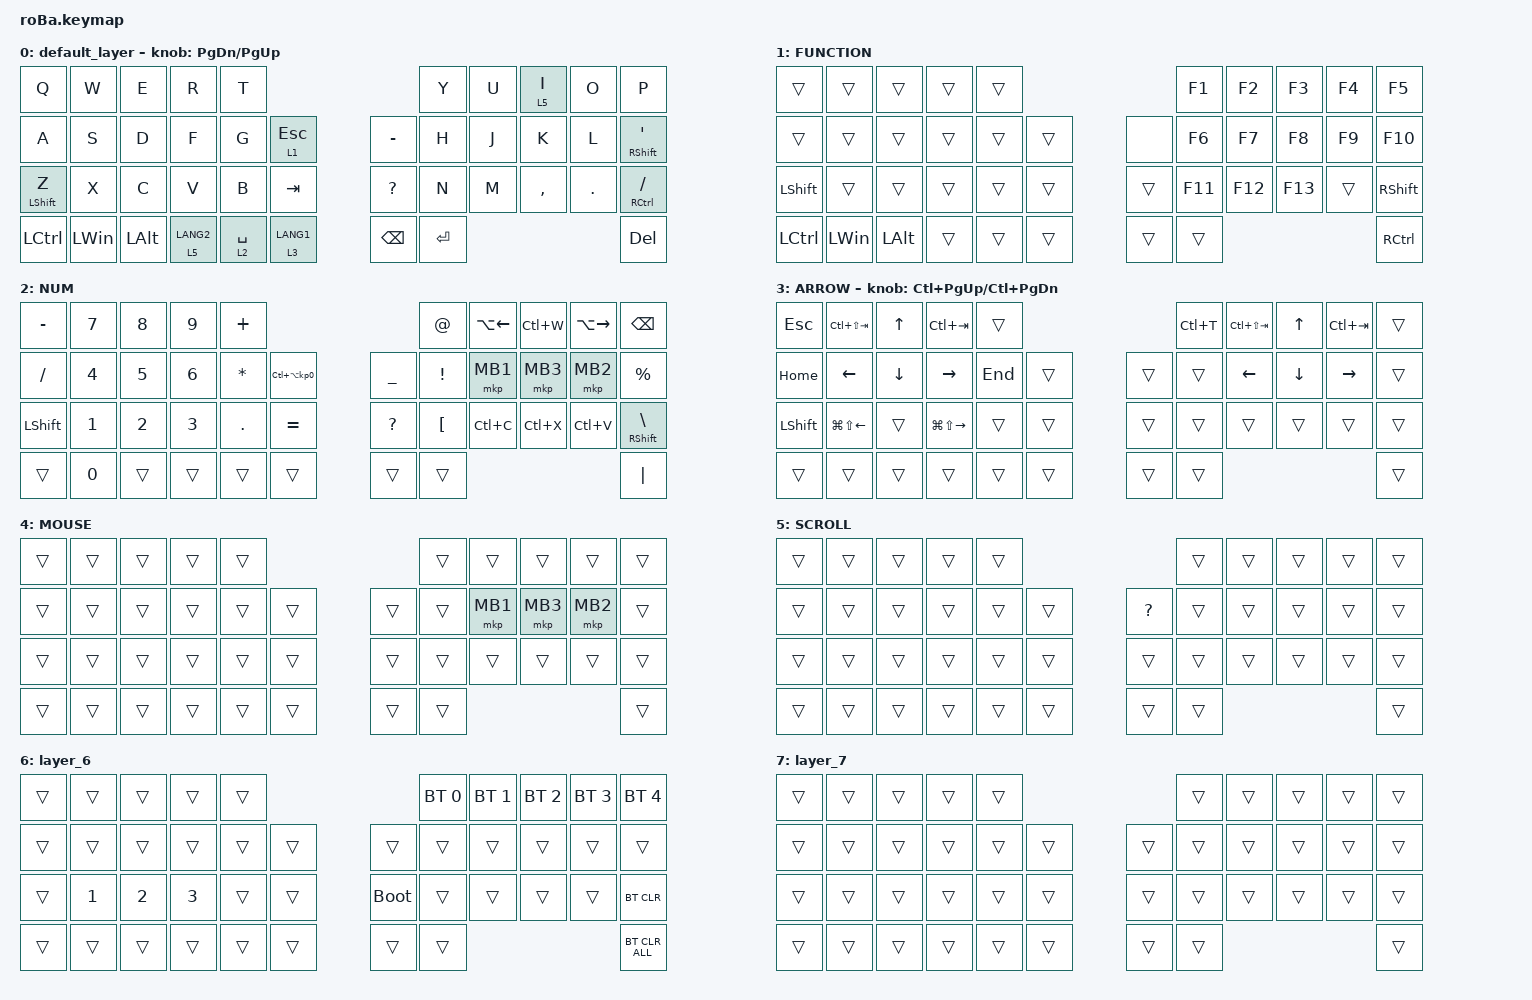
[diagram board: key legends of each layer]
#include <behaviors.dtsi>
#include <dt-bindings/zmk/bt.h>
#include <dt-bindings/zmk/keys.h>
#include <dt-bindings/zmk/pointing.h>

&mt {
    flavor = "balanced";
    quick-tap-ms = <0>;
};

/ {
    combos {
        compatible = "zmk,combos";

        tab {
            bindings = <&kp TAB>;
            key-positions = <11 12>;
        };

        shift_tab {
            bindings = <&kp LS(TAB)>;
            key-positions = <12 13>;
        };

        muhennkann {
            bindings = <&to_layer_0 INT_MUHENKAN>;
            key-positions = <11 10>;
        };

        double_quotation {
            bindings = <&kp DOUBLE_QUOTES>;
            key-positions = <20 21>;
        };

        eq {
            bindings = <&kp EQUAL>;
            key-positions = <24 25>;
        };
    };

    macros {
        to_layer_0: to_layer_0 {
            compatible = "zmk,behavior-macro-one-param";
            #binding-cells = <1>;
            bindings = <&to 0 &macro_param_1to1 &kp MACRO_PLACEHOLDER>;
            label = "TO_LAYER_0";
        };
    };

    behaviors {
        lt_to_layer_0: lt_to_layer_0 {
            compatible = "zmk,behavior-hold-tap";
            label = "LAYER_TAP_TO_0";
            bindings = <&mo>, <&to_layer_0>;

            #binding-cells = <2>;
            tapping-term-ms = <200>;
        };
    };

    keymap {
        compatible = "zmk,keymap";

        default_layer {
            bindings = <
&kp Q             &kp W         &kp E         &kp R                   &kp T                                                   &kp Y      &kp U  &lt 5 I    &kp O    &kp P
&kp A             &kp S         &kp D         &kp F                   &kp G        &lt 1 ESCAPE                &kp MINUS      &kp H      &kp J  &kp K      &kp L    &mt RSHIFT SQT
&mt LEFT_SHIFT Z  &kp X         &kp C         &kp V                   &kp B        &kp TAB                     &kp QUESTION   &kp N      &kp M  &kp COMMA  &kp DOT  &mt RCTRL SLASH
&kp LCTRL         &kp LEFT_WIN  &kp LEFT_ALT  &lt_to_layer_0 5 LANG2  &lt 2 SPACE  &lt_to_layer_0 3 LANG1      &kp BACKSPACE  &kp ENTER                             &kp DEL
            >;

            sensor-bindings = <&inc_dec_kp PAGE_DOWN PAGE_UP>;
        };

        FUNCTION {
            bindings = <
&trans          &trans        &trans        &trans  &trans                      &kp F1   &kp F2   &kp F3   &kp F4  &kp F5
&trans          &trans        &trans        &trans  &trans  &trans      &none   &kp F6   &kp F7   &kp F8   &kp F9  &kp F10
&kp LEFT_SHIFT  &trans        &trans        &trans  &trans  &trans      &trans  &kp F11  &kp F12  &kp F13  &trans  &kp RIGHT_SHIFT
&kp LCTRL       &kp LEFT_WIN  &kp LEFT_ALT  &trans  &trans  &trans      &trans  &trans                             &kp RIGHT_CONTROL
            >;
        };

        NUM {
            bindings = <
&kp MINUS       &kp NUMBER_7  &kp NUMBER_8  &kp NUMBER_9  &kp PLUS                                                   &kp AT            &kp LA(LEFT)  &kp LC(W)  &kp LA(RIGHT)  &kp BACKSPACE
&kp SLASH       &kp NUMBER_4  &kp NUMBER_5  &kp NUMBER_6  &kp ASTERISK  &kp LC(LA(KP_NUMBER_0))      &kp UNDERSCORE  &kp EXCLAMATION   &mkp MB1      &mkp MB3   &mkp MB2       &kp PERCENT
&kp LEFT_SHIFT  &kp NUMBER_1  &kp NUMBER_2  &kp NUMBER_3  &kp PERIOD    &kp EQUAL                    &kp QUESTION    &kp LEFT_BRACKET  &kp LC(C)     &kp LC(X)  &kp LC(V)      &mt RIGHT_SHIFT BACKSLASH
&trans          &kp NUMBER_0  &trans        &trans        &trans        &trans                       &trans          &trans                                                    &kp PIPE
            >;
        };

        ARROW {
            bindings = <
&kp ESCAPE      &kp LC(LS(TAB))         &kp UP_ARROW    &kp LC(TAB)              &trans                       &kp LC(T)  &kp LC(LS(TAB))  &kp UP_ARROW    &kp LC(TAB)      &trans
&kp HOME        &kp LEFT_ARROW          &kp DOWN_ARROW  &kp RIGHT_ARROW          &kp END  &trans      &trans  &trans     &kp LEFT_ARROW   &kp DOWN_ARROW  &kp RIGHT_ARROW  &trans
&kp LEFT_SHIFT  &kp LG(LS(LEFT_ARROW))  &trans          &kp LG(LS(RIGHT_ARROW))  &trans   &trans      &trans  &trans     &trans           &trans          &trans           &trans
&trans          &trans                  &trans          &trans                   &trans   &trans      &trans  &trans                                                       &trans
            >;

            sensor-bindings = <&inc_dec_kp LC(PAGE_UP) LC(PAGE_DOWN)>;
        };

        MOUSE {
            bindings = <
&trans  &trans  &trans  &trans  &trans                      &trans  &trans    &trans    &trans    &trans
&trans  &trans  &trans  &trans  &trans  &trans      &trans  &trans  &mkp MB1  &mkp MB3  &mkp MB2  &trans
&trans  &trans  &trans  &trans  &trans  &trans      &trans  &trans  &trans    &trans    &trans    &trans
&trans  &trans  &trans  &trans  &trans  &trans      &trans  &trans                                &trans
            >;
        };

        SCROLL {
            bindings = <
&trans  &trans  &trans  &trans  &trans                            &trans  &trans  &trans  &trans  &trans
&trans  &trans  &trans  &trans  &trans  &trans      &kp QUESTION  &trans  &trans  &trans  &trans  &trans
&trans  &trans  &trans  &trans  &trans  &trans      &trans        &trans  &trans  &trans  &trans  &trans
&trans  &trans  &trans  &trans  &trans  &trans      &trans        &trans                          &trans
            >;
        };

        layer_6 {
            bindings = <
&trans  &trans        &trans        &trans        &trans                           &bt BT_SEL 0  &bt BT_SEL 1  &bt BT_SEL 2  &bt BT_SEL 3  &bt BT_SEL 4
&trans  &trans        &trans        &trans        &trans  &trans      &trans       &trans        &trans        &trans        &trans        &trans
&trans  &kp NUMBER_1  &kp NUMBER_2  &kp NUMBER_3  &trans  &trans      &bootloader  &trans        &trans        &trans        &trans        &bt BT_CLR
&trans  &trans        &trans        &trans        &trans  &trans      &trans       &trans                                                  &bt BT_CLR_ALL
            >;
        };

        layer_7 {
            bindings = <
&trans  &trans  &trans  &trans  &trans                      &trans  &trans  &trans  &trans  &trans
&trans  &trans  &trans  &trans  &trans  &trans      &trans  &trans  &trans  &trans  &trans  &trans
&trans  &trans  &trans  &trans  &trans  &trans      &trans  &trans  &trans  &trans  &trans  &trans
&trans  &trans  &trans  &trans  &trans  &trans      &trans  &trans                          &trans
            >;
        };
    };
};
